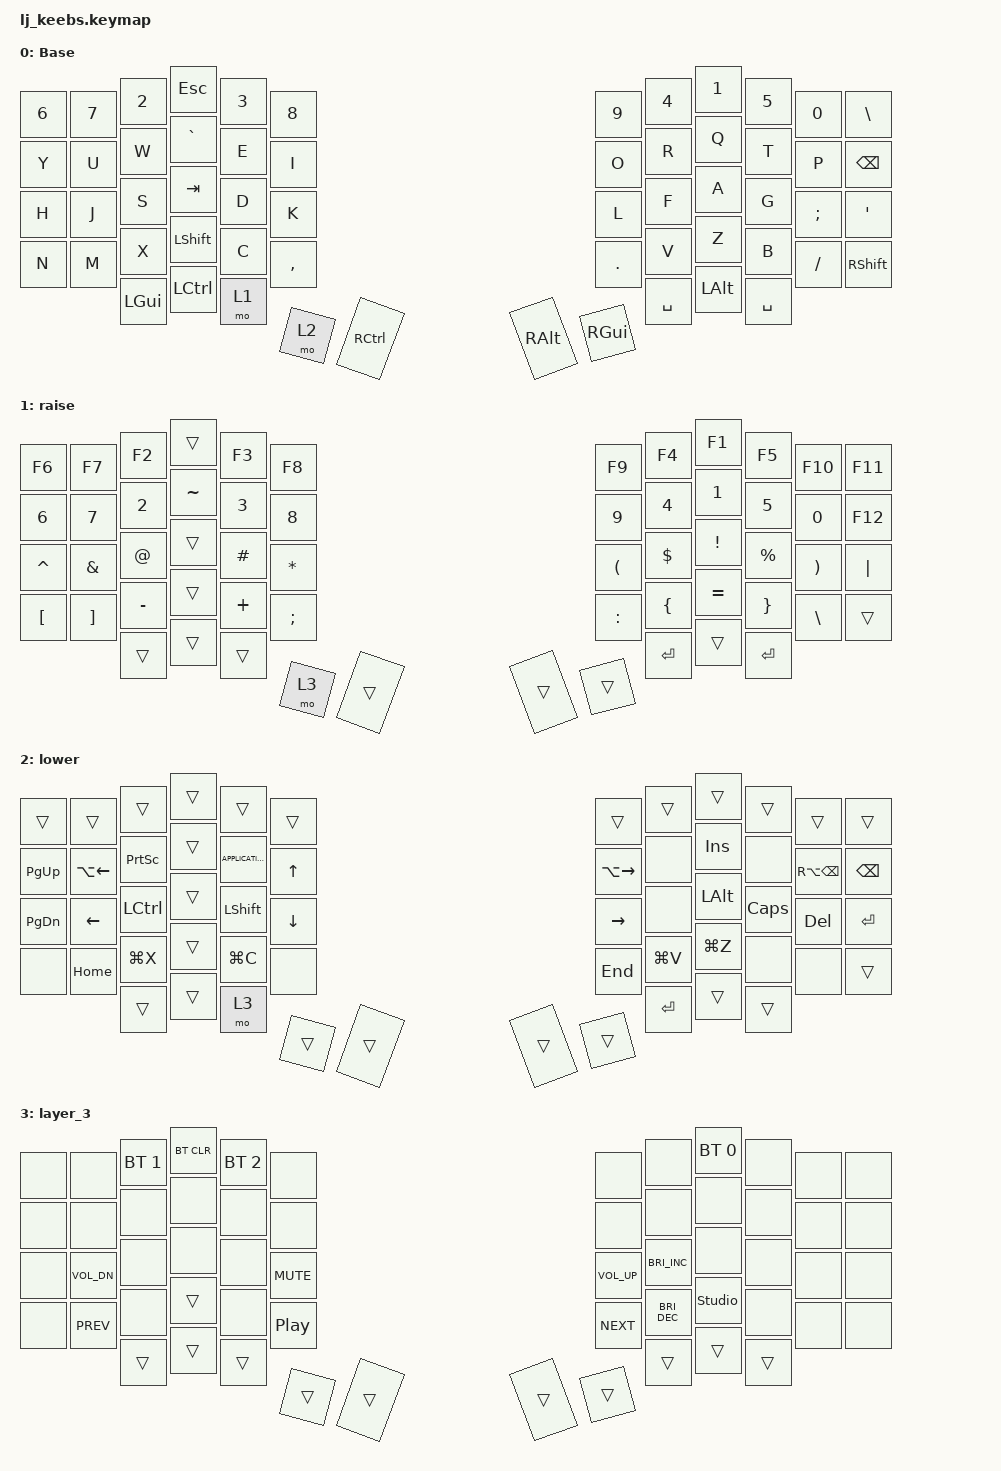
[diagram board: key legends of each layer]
/*
 * Copyright (c) 2023 The ZMK Contributors
 *
 * SPDX-License-Identifier: MIT
 */

#include <behaviors.dtsi>
#include <dt-bindings/zmk/bt.h>
#include <dt-bindings/zmk/keys.h>

/ {
    combos {
        compatible = "zmk,combos";

        lh_space {
            bindings = <&kp SPACE>;
            key-positions = <54 24>;
            layers = <0>;
        };
    };

    keymap {
        compatible = "zmk,keymap";

        layer_0 {
            display-name = "Base";
            bindings = <
&kp ESC         &kp N1  &kp N2            &kp N3        &kp N4        &kp N5                          &kp N6  &kp N7             &kp N8         &kp N9         &kp N0         &kp BACKSLASH
&kp GRAVE       &kp Q   &kp W             &kp E         &kp R         &kp T                           &kp Y   &kp U              &kp I          &kp O          &kp P          &kp BACKSPACE
&kp TAB         &kp A   &kp S             &kp D         &kp F         &kp G                           &kp H   &kp J              &kp K          &kp L          &kp SEMICOLON  &kp SINGLE_QUOTE
&kp LEFT_SHIFT  &kp Z   &kp X             &kp C         &kp V         &kp B                           &kp N   &kp M              &kp COMMA      &kp DOT        &kp SLASH      &kp RIGHT_SHIFT
                        &kp LEFT_CONTROL  &kp LEFT_ALT  &kp LEFT_GUI  &mo 1   &kp SPACE    &kp SPACE  &mo 2   &kp RIGHT_CONTROL  &kp RIGHT_ALT  &kp RIGHT_GUI
            >;
        };

        raise {
            bindings = <
&trans     &kp F1     &kp F2     &kp F3    &kp F4          &kp F5                               &kp F6            &kp F7             &kp F8    &kp F9     &kp F10   &kp F11
&kp TILDE  &kp N1     &kp N2     &kp N3    &kp N4          &kp N5                               &kp N6            &kp N7             &kp N8    &kp N9     &kp N0    &kp F12
&trans     &kp EXCL   &kp AT     &kp HASH  &kp DOLLAR      &kp PERCENT                          &kp CARET         &kp AMPS           &kp STAR  &kp LPAR   &kp RPAR  &kp PIPE
&trans     &kp EQUAL  &kp MINUS  &kp PLUS  &kp LEFT_BRACE  &kp RBRC                             &kp LEFT_BRACKET  &kp RIGHT_BRACKET  &kp SEMI  &kp COLON  &kp BSLH  &trans
                      &trans     &trans    &trans          &trans       &kp ENTER    &kp ENTER  &mo 3             &trans             &trans    &trans
            >;
        };

        lower {
            bindings = <
&trans  &trans        &trans            &trans             &trans     &trans                             &trans         &trans        &trans        &trans         &trans        &trans
&trans  &kp INS       &kp PRINTSCREEN   &kp K_APPLICATION  &none      &none                              &kp PAGE_UP    &kp LA(LEFT)  &kp UP_ARROW  &kp LA(RIGHT)  &kp RA(BSPC)  &kp BACKSPACE
&trans  &kp LEFT_ALT  &kp LEFT_CONTROL  &kp LEFT_SHIFT     &none      &kp CAPSLOCK                       &kp PAGE_DOWN  &kp LEFT      &kp DOWN      &kp RIGHT      &kp DELETE    &kp ENTER
&trans  &kp LG(Z)     &kp LG(X)         &kp LG(C)          &kp LG(V)  &none                              &none          &kp HOME      &none         &kp END        &none         &trans
                      &trans            &trans             &trans     &mo 3         &kp ENTER    &trans  &trans         &trans        &trans        &trans
            >;
        };

        layer_3 {
            bindings = <
&bt BT_CLR  &bt BT_SEL 0    &bt BT_SEL 1  &bt BT_SEL 2  &none                 &none                     &none   &none         &none             &none         &none  &none
&none       &none           &none         &none         &none                 &none                     &none   &none         &none             &none         &none  &none
&none       &none           &none         &none         &kp C_BRIGHTNESS_INC  &none                     &none   &kp C_VOL_DN  &kp C_MUTE        &kp C_VOL_UP  &none  &none
&trans      &studio_unlock  &none         &none         &kp C_BRI_DEC         &none                     &none   &kp C_PREV    &kp C_PLAY_PAUSE  &kp C_NEXT    &none  &none
                            &trans        &trans        &trans                &trans  &trans    &trans  &trans  &trans        &trans            &trans
            >;
        };
    };

    conditional_layers { compatible = "zmk,conditional-layers"; };
};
